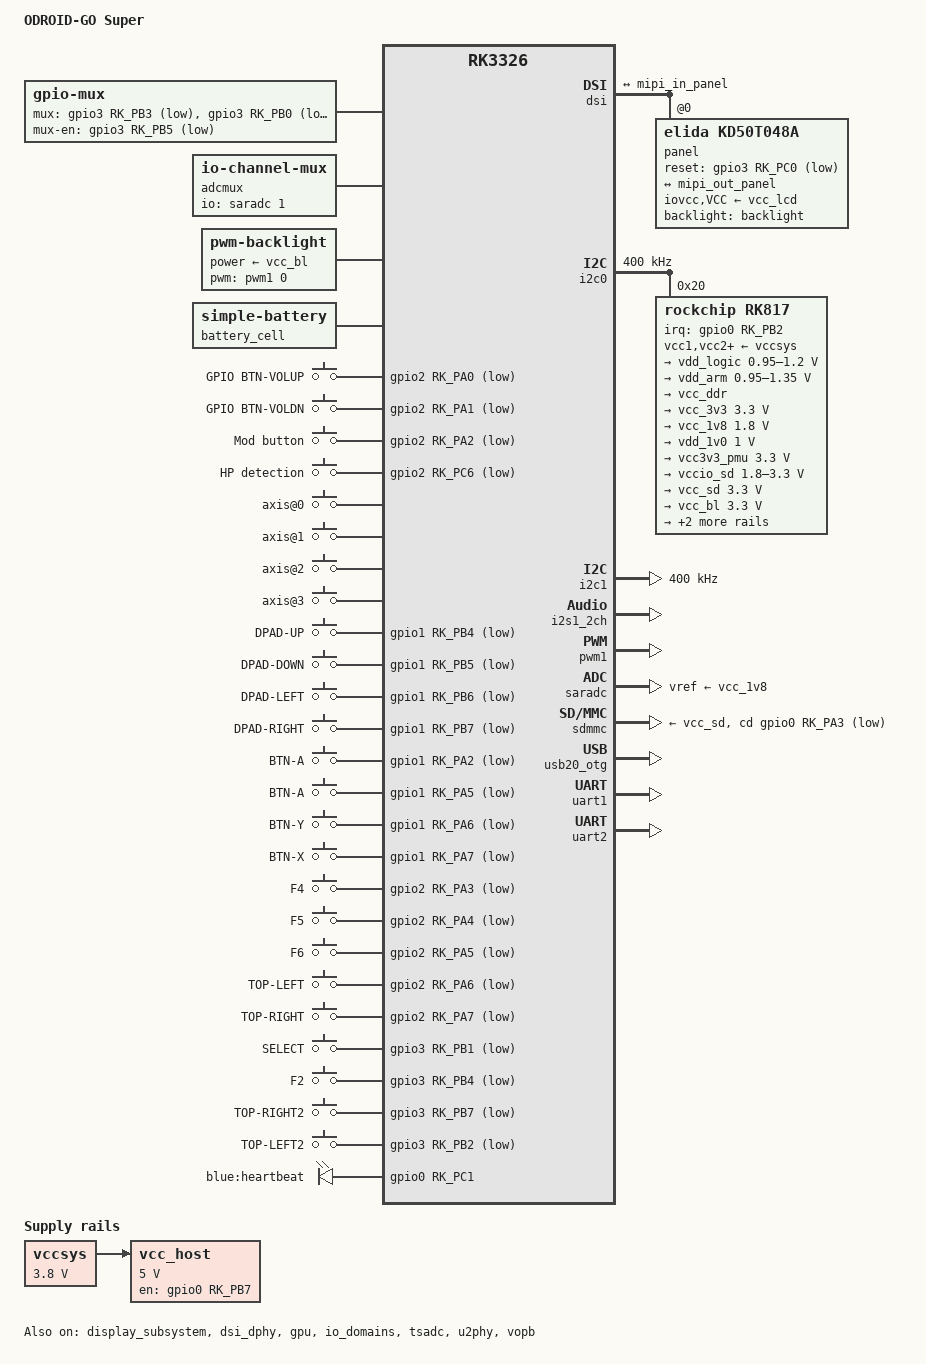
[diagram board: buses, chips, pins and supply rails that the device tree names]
// SPDX-License-Identifier: (GPL-2.0+ OR MIT)
/*
 * Copyright (c) 2019 Hardkernel Co., Ltd
 * Copyright (c) 2020 Theobroma Systems Design und Consulting GmbH
 */

/dts-v1/;
#include <dt-bindings/gpio/gpio.h>
#include <dt-bindings/input/input.h>
#include <dt-bindings/pinctrl/rockchip.h>
#include "rockchip/rk3326.dtsi"

/ {
	model = "ODROID-GO Super";
	compatible = "hardkernel,rk3326-odroid-go3", "rockchip,rk3326";

	chosen {
		stdout-path = "serial2:115200n8";
	};

	mux: mux-controller {
		status = "okay";
		compatible = "gpio-mux";
		#mux-control-cells = <0>;

		mux-gpios = <&gpio3 RK_PB3 GPIO_ACTIVE_LOW>,
			    <&gpio3 RK_PB0 GPIO_ACTIVE_LOW>;
		mux-en-gpio = <&gpio3 RK_PB5 GPIO_ACTIVE_LOW>;
	};

	adcmux: adc-mux {
		status = "okay";
		compatible = "io-channel-mux";
		io-channels = <&saradc 1>;
		io-channel-names = "parent";
		#io-channel-cells = <1>;

		mux-controls = <&mux>;

		channels = "0", "1", "2", "3";
	};

	backlight: backlight {
		compatible = "pwm-backlight";
		power-supply = <&vcc_bl>;
		pwms = <&pwm1 0 25000 0>;
	};

	battery_cell: battery-cell {
		compatible = "simple-battery";
		energy-full-design-microamp-hours = <4000000>;
		voltage-min-design-microvolt = <3500000>;
		voltage-max-design-microvolt = <4100000>;

		ocv-capacity-celcius = <20>;
		ocv-capacity-table-0 =  <3500 0>, <3625 5>, <3685 10>, <3697 15>,
					<3718 20>, <3735 25>, <3748 30>, <3760 35>,
					<3774 40>, <3788 45>, <3802 50>, <3816 55>,
					<3834 60>, <3853 65>, <3877 70>, <3908 75>,
					<3946 80>, <3975 85>, <4018 90>, <4071 95>,
					<4106 100>;
	};

	utils {
			compatible = "gpio-keys";
			#address-cells = <1>;
			#size-cells = <0>;
			button@0 {
				label = "GPIO BTN-VOLUP";
				linux,code = <KEY_VOLUMEUP>;
				gpios = <&gpio2 RK_PA0 GPIO_ACTIVE_LOW>;
			};
			button@1 {
				label = "GPIO BTN-VOLDN";
				linux,code = <KEY_VOLUMEDOWN>;
				gpios = <&gpio2 RK_PA1 GPIO_ACTIVE_LOW>;
			};
			button@2 {
				label = "Mod button";
				gpios = <&gpio2 RK_PA2 GPIO_ACTIVE_LOW>;
				linux,code = <KEY_LEFTMETA>; // 0x2c2
			};
			button@3 {
				label = "HP detection";
				gpios = <&gpio2 RK_PC6 GPIO_ACTIVE_LOW>;
				linux,code = <KEY_SOUND>;
			};
	};

	joypad {
		compatible = "gpio-keys-adc";
		joypad-name = "GO-Super Gamepad";
		joypad-product = <0x1100>;
		joypad-revision = <0x0100>;

		pinctrl-names = "default";
		pinctrl-0 = <&btn_pins>;

		io-channels = <&adcmux 0>, <&adcmux 1>, <&adcmux 2>, <&adcmux 3>;

		axis@0 {
			reg = <0>;
			abs-flat = <32>;
			abs-fuzz = <10>;
			abs-range = <180 800>;
			linux,code = <ABS_X>;
			analog;
		};

		axis@1 {
			reg = <1>;
			abs-flat = <32>;
			abs-fuzz = <10>;
			abs-range = <180 800>;
			linux,code = <ABS_RX>;
			analog;
		};

		axis@2 {
			reg = <2>;
			abs-flat = <32>;
			abs-fuss = <10>;
			abs-range = <180 800>;
			linux,code = <ABS_Y>;
			analog;
		};

		axis@3 {
			reg = <3>;
			abs-flat = <32>;
			abs-fuss = <10>;
			abs-range = <180 800>;
			linux,code = <ABS_RY>;
			analog;
		};


		/*
		 *      *** ODROIDGO3 Switch layout ***
		 * |------------------------------------------------|
		 * | L1 L2	     vol-  vol+	     R2 R1 |
		 * |------------------------------------------------|
		 * |       select			  start    |
		 * |     sw1      |-------------------|      sw8    |
		 * |  sw3   sw4   |		   |   sw7   sw5 |
		 * |     sw2      |    LCD Display    |      sw6    |
		 * |	      |		   |	     |
		 * |	      |-------------------|	     |
		 * |  MOD start	 SD  SLOT	 sw13 sw14  |
		 * |------------------------------------------------|
		 */

		sw1 {
			reg = <4>;
			gpios = <&gpio1 RK_PB4 GPIO_ACTIVE_LOW>;
			label = "DPAD-UP";
			linux,code = <BTN_DPAD_UP>; // 0x220
		};
		sw2 {
			reg = <5>;
			gpios = <&gpio1 RK_PB5 GPIO_ACTIVE_LOW>;
			label = "DPAD-DOWN";
			linux,code = <BTN_DPAD_DOWN>; // 0x221
		};
		sw3 {
			reg = <6>;
			gpios = <&gpio1 RK_PB6 GPIO_ACTIVE_LOW>;
			label = "DPAD-LEFT";
			linux,code = <BTN_DPAD_LEFT>; // 0x222
		};
		sw4 {
			reg = <7>;
			gpios = <&gpio1 RK_PB7 GPIO_ACTIVE_LOW>;
			label = "DPAD-RIGHT";
			linux,code = <BTN_DPAD_RIGHT>; // 0x223
		};
		sw5 {
			reg = <8>;
			gpios = <&gpio1 RK_PA2 GPIO_ACTIVE_LOW>;
			label = "BTN-A";
			linux,code = <BTN_EAST>; // 0x131
		};
		sw6 {
			reg = <9>;
			gpios = <&gpio1 RK_PA5 GPIO_ACTIVE_LOW>;
			label = "BTN-A";
			linux,code = <BTN_SOUTH>; // 0x130
		};
		sw7 {
			reg = <10>;
			gpios = <&gpio1 RK_PA6 GPIO_ACTIVE_LOW>;
			label = "BTN-Y";
			linux,code = <BTN_WEST>; // 0x134
		};
		sw8 {
			reg = <11>;
			gpios = <&gpio1 RK_PA7 GPIO_ACTIVE_LOW>;
			label = "BTN-X";
			linux,code = <BTN_NORTH>; // 0x133
		};
		sw9 {
			reg = <12>;
			gpios = <&gpio2 RK_PA3 GPIO_ACTIVE_LOW>;
			label = "F4";
			linux,code = <BTN_THUMBL>; // 0x2c3
		};
		sw10 {
			reg = <13>;
			gpios = <&gpio2 RK_PA4 GPIO_ACTIVE_LOW>;
			label = "F5";
			linux,code = <BTN_THUMBR>; // 0x2c4
		};
		sw11 { // UNUSED
			reg = <14>;
			gpios = <&gpio2 RK_PA5 GPIO_ACTIVE_LOW>;
			label = "F6";
			linux,code = <BTN_TRIGGER_HAPPY6>; // 0x13c
		};
		sw12 {
			reg = <15>;
			gpios = <&gpio2 RK_PA6 GPIO_ACTIVE_LOW>;
			label = "TOP-LEFT";
			linux,code = <BTN_TL>; // 0x02
		};
		sw13 {
			reg = <16>;
			gpios = <&gpio2 RK_PA7 GPIO_ACTIVE_LOW>;
			label = "TOP-RIGHT";
			linux,code = <BTN_TR>; // 0x05
		};
		sw14 {
			reg = <17>;
			gpios = <&gpio3 RK_PB1 GPIO_ACTIVE_LOW>;
			label = "SELECT";
			linux,code = <BTN_SELECT>;
		};
		sw15 {
			reg = <18>;
			gpios = <&gpio3 RK_PB4 GPIO_ACTIVE_LOW>;
			label = "F2";
			linux,code = <BTN_START>;
		};
		sw16 {
			reg = <19>;
			gpios = <&gpio3 RK_PB7 GPIO_ACTIVE_LOW>;
			label = "TOP-RIGHT2";
			linux,code = <BTN_TR2>;
		};
		sw17 {
			reg = <20>;
			gpios = <&gpio3 RK_PB2 GPIO_ACTIVE_LOW>;
			label = "TOP-LEFT2";
			linux,code = <BTN_TL2>;
		};
	};

	leds: gpio-leds {
		compatible = "gpio-leds";
		pinctrl-names = "default";
		pinctrl-0 = <&blue_led_pin>;

		blue_led: led-0 {
			label = "blue:heartbeat";
			gpios = <&gpio0 RK_PC1 GPIO_ACTIVE_HIGH>;
			linux,default-trigger = "heartbeat";
		};
	};

	vccsys: vccsys {
		compatible = "regulator-fixed";
		regulator-name = "vcc3v8_sys";
		regulator-always-on;
		regulator-min-microvolt = <3800000>;
		regulator-max-microvolt = <3800000>;
	};

	rk817-sound {
		status = "okay";
		compatible = "simple-audio-card";
		simple-audio-card,format = "i2s";
		simple-audio-card,name = "rockchip,rk817-codec";
		simple-audio-card,mclk-fs = <256>;
		simple-audio-card,widgets =
			"Microphone", "Mic Jack",
			"Headphone", "Headphones",
			"Speaker", "Speaker";
		simple-audio-card,routing =
			"MICL", "Mic Jack",
			"Headphones", "HPOL",
			"Headphones", "HPOR",
			"Speaker", "SPKO";
		//simple-audio-card,hp-det-gpio = <&gpio2 RK_PC6 GPIO_ACTIVE_HIGH>;
		simple-audio-card,pin-switches = "Speaker", "Headphones";
		simple-audio-card,cpu {
			sound-dai = <&i2s1_2ch>;
		};
		simple-audio-card,codec {
			sound-dai = <&rk817>;
		};
	};

	vcc_host: vcc_host {
		compatible = "regulator-fixed";
		regulator-name = "vcc_host";
		regulator-min-microvolt = <5000000>;
		regulator-max-microvolt = <5000000>;

		gpio = <&gpio0 RK_PB7 GPIO_ACTIVE_HIGH>;
		enable-active-high;
		regulator-always-on;
		vin-supply = <&vccsys>;
	};
};

/* TODO 5.15
&dmc {
	center-supply = <&vdd_logic>;
};
*/

&cpu0 {
	cpu-supply = <&vdd_arm>;
};

&cpu1 {
	cpu-supply = <&vdd_arm>;
};

&cpu2 {
	cpu-supply = <&vdd_arm>;
};

&cpu3 {
	cpu-supply = <&vdd_arm>;
};

&cru {
	assigned-clocks = <&cru PLL_NPLL>,
		<&cru ACLK_BUS_PRE>, <&cru ACLK_PERI_PRE>,
		<&cru HCLK_BUS_PRE>, <&cru HCLK_PERI_PRE>,
		<&cru PCLK_BUS_PRE>, <&cru SCLK_GPU>,
		<&cru PLL_CPLL>;

	assigned-clock-rates = <1188000000>,
		<200000000>, <200000000>,
		<150000000>, <150000000>,
		<100000000>, <200000000>,
		<17000000>;
};

&display_subsystem {
	status = "okay";
};

&dsi {
	status = "okay";

	ports {
		mipi_out: port@1 {
			reg = <1>;

			mipi_out_panel: endpoint {
				remote-endpoint = <&mipi_in_panel>;
			};
		};
	};

	panel@0 {
		compatible = "elida,kd50t048a", "simple-panel-dsi";
		reg = <0>;
		backlight = <&backlight>;
		iovcc-supply = <&vcc_lcd>;
		reset-gpios = <&gpio3 RK_PC0 GPIO_ACTIVE_LOW>;
		VCC-supply = <&vcc_lcd>;
		rotation = <270>;
		port {
			mipi_in_panel: endpoint {
				remote-endpoint = <&mipi_out_panel>;
			};
		};
	};
};



&dsi_dphy {
	status = "okay";
};

&gpu {
	mali-supply = <&vdd_logic>;
	status = "okay";
};

&i2c0 {
	clock-frequency = <400000>;
	i2c-scl-falling-time-ns = <16>;
	i2c-scl-rising-time-ns = <280>;
	status = "okay";

	rk817: pmic@20 {
		compatible = "rockchip,rk817";
		reg = <0x20>;
		interrupt-parent = <&gpio0>;
		interrupts = <RK_PB2 IRQ_TYPE_LEVEL_LOW>;
		pinctrl-names = "default";
		pinctrl-0 = <&pmic_int &i2s1_2ch_mclk>;
		rockchip,system-power-controller;
		wakeup-source;
		#clock-cells = <1>;
		clock-output-names = "rk808-clkout1", "xin32k";
		clocks = <&cru SCLK_I2S1_OUT>;
		clock-names = "mclk";
		#sound-dai-cells = <0>;

		vcc1-supply = <&vccsys>;
		vcc2-supply = <&vccsys>;
		vcc3-supply = <&vccsys>;
		vcc4-supply = <&vccsys>;
		vcc5-supply = <&vccsys>;
		vcc6-supply = <&vccsys>;
		vcc7-supply = <&vccsys>;

		rk817_battery: battery {
			compatible = "rk817,battery";
			monitored-battery = <&battery_cell>;
			bat_res = <180>;
			sample_res = <10>;
		};

		rk817_codec: codec {
			mic-in-differential;
			status = "okay";
		};

		regulators {
			vdd_logic: DCDC_REG1 {
				regulator-name = "vdd_logic";
				regulator-min-microvolt = <950000>;
				regulator-max-microvolt = <1200000>;
				regulator-ramp-delay = <6001>;
				regulator-always-on;
				regulator-boot-on;

				regulator-state-mem {
					regulator-on-in-suspend;
					regulator-suspend-microvolt = <950000>;
				};
			};

			vdd_arm: DCDC_REG2 {
				regulator-name = "vdd_arm";
				regulator-min-microvolt = <950000>;
				regulator-max-microvolt = <1350000>;
				regulator-ramp-delay = <6001>;
				regulator-always-on;
				regulator-boot-on;

				regulator-state-mem {
					regulator-off-in-suspend;
					regulator-suspend-microvolt = <950000>;
				};
			};

			vcc_ddr: DCDC_REG3 {
				regulator-name = "vcc_ddr";
				regulator-always-on;
				regulator-boot-on;

				regulator-state-mem {
					regulator-on-in-suspend;
				};
			};

			vcc_3v3: DCDC_REG4 {
				regulator-name = "vcc_3v3";
				regulator-min-microvolt = <3300000>;
				regulator-max-microvolt = <3300000>;
				regulator-always-on;
				regulator-boot-on;

				regulator-state-mem {
					regulator-off-in-suspend;
					regulator-suspend-microvolt = <3300000>;
				};
			};

			vcc_1v8: LDO_REG2 {
				regulator-name = "vcc_1v8";
				regulator-min-microvolt = <1800000>;
				regulator-max-microvolt = <1800000>;
				regulator-always-on;
				regulator-boot-on;

				regulator-state-mem {
					regulator-on-in-suspend;
					regulator-suspend-microvolt = <1800000>;
				};
			};

			vdd_1v0: LDO_REG3 {
				regulator-name = "vdd_1v0";
				regulator-min-microvolt = <1000000>;
				regulator-max-microvolt = <1000000>;
				regulator-always-on;
				regulator-boot-on;

				regulator-state-mem {
					regulator-on-in-suspend;
					regulator-suspend-microvolt = <1000000>;
				};
			};

			vcc3v3_pmu: LDO_REG4 {
				regulator-name = "vcc3v3_pmu";
				regulator-min-microvolt = <3300000>;
				regulator-max-microvolt = <3300000>;
				regulator-always-on;
				regulator-boot-on;

				regulator-state-mem {
					regulator-on-in-suspend;
					regulator-suspend-microvolt = <3300000>;
				};
			};

			vccio_sd: LDO_REG5 {
				regulator-name = "vccio_sd";
				regulator-min-microvolt = <1800000>;
				regulator-max-microvolt = <3300000>;
				regulator-always-on;
				regulator-boot-on;

				regulator-state-mem {
					regulator-on-in-suspend;
					regulator-suspend-microvolt = <3300000>;
				};
			};

			vcc_sd: LDO_REG6 {
				regulator-name = "vcc_sd";
				regulator-min-microvolt = <3300000>;
				regulator-max-microvolt = <3300000>;
				regulator-boot-on;

				regulator-state-mem {
					regulator-on-in-suspend;
					regulator-suspend-microvolt = <3300000>;
				};
			};

			vcc_bl: LDO_REG7 {
				regulator-name = "vcc_bl";
				regulator-min-microvolt = <3300000>;
				regulator-max-microvolt = <3300000>;

				regulator-state-mem {
					regulator-off-in-suspend;
					regulator-suspend-microvolt = <3300000>;
				};
			};

			/* Rev 0.1 GO3 LCD IO Power */
			vcc_lcd: LDO_REG8 {
				regulator-name = "vcc_lcd";
				regulator-min-microvolt = <2800000>;
				regulator-max-microvolt = <2800000>;

				regulator-state-mem {
					regulator-off-in-suspend;
					regulator-suspend-microvolt = <2800000>;
				};
			};

			/* Rev 1.1 WIFI Power */
			vcc_wifi: LDO_REG9 {
				regulator-min-microvolt = <3300000>;
				regulator-max-microvolt = <3300000>;
				regulator-state-mem {
					regulator-off-in-suspend;
					regulator-suspend-microvolt = <3300000>;
				};
			};
		};
	};
};

/* EXT Header(P2): 7(SCL:GPIO0.C2), 8(SDA:GPIO0.C3) */
&i2c1 {
	clock-frequency = <400000>;
	status = "okay";
};

/* I2S 1 Channel Used */
&i2s1_2ch {
	resets = <&cru SRST_I2S1>, <&cru SRST_I2S1_H>;
	reset-names = "reset-m", "reset-h";
	status = "okay";
};

&io_domains {
	vccio1-supply = <&vcc_3v3>;
	vccio2-supply = <&vccio_sd>;
	vccio3-supply = <&vcc_3v3>;
	vccio4-supply = <&vcc_3v3>;
	vccio5-supply = <&vcc_3v3>;
	vccio6-supply = <&vcc_3v3>;
	status = "okay";
};

&pmu_io_domains {
	pmuio1-supply = <&vcc3v3_pmu>;
	pmuio2-supply = <&vcc3v3_pmu>;
	status = "okay";
};

&pwm1 {
	status = "okay";
};

&saradc {
	vref-supply = <&vcc_1v8>;
	status = "okay";
};

&sdmmc {
	cap-sd-highspeed;
	card-detect-delay = <800>;
	cd-gpios = <&gpio0 RK_PA3 GPIO_ACTIVE_LOW>; /*[> CD GPIO <]*/
	sd-uhs-sdr12;
	sd-uhs-sdr25;
	sd-uhs-sdr50;
	sd-uhs-sdr104;
	vmmc-supply = <&vcc_sd>;
	vqmmc-supply = <&vccio_sd>;
	status = "okay";
};

&tsadc {
	status = "okay";
};

&u2phy {
	status = "okay";

	u2phy_host: host-port {
		status = "okay";
	};

	u2phy_otg: otg-port {
		status = "disabled";
	};
};

&usb20_otg {
	status = "okay";
};

/* EXT Header(P2): 2(RXD:GPIO1.C0),3(TXD:.C1),4(CTS:.C2),5(RTS:.C3) */
&uart1 {
	pinctrl-names = "default";
	pinctrl-0 = <&uart1_xfer &uart1_cts>;
	status = "okay";
};

&uart2 {
	pinctrl-names = "default";
	pinctrl-0 = <&uart2m1_xfer>;
	status = "okay";
};

&vopb {
	status = "okay";
};

&vopb_mmu {
	status = "okay";
};

&pinctrl {
	btns {
		btn_pins: btn-pins {
			rockchip,pins = <1 RK_PB4 RK_FUNC_GPIO &pcfg_pull_up>,
					<1 RK_PB5 RK_FUNC_GPIO &pcfg_pull_up>,
					<1 RK_PB6 RK_FUNC_GPIO &pcfg_pull_up>,
					<1 RK_PB7 RK_FUNC_GPIO &pcfg_pull_up>,

					<1 RK_PA2 RK_FUNC_GPIO &pcfg_pull_up>,
					<1 RK_PA5 RK_FUNC_GPIO &pcfg_pull_up>,
					<1 RK_PA6 RK_FUNC_GPIO &pcfg_pull_up>,
					<1 RK_PA7 RK_FUNC_GPIO &pcfg_pull_up>,

					<2 RK_PA0 RK_FUNC_GPIO &pcfg_pull_up>,
					<2 RK_PA1 RK_FUNC_GPIO &pcfg_pull_up>,
					<2 RK_PA2 RK_FUNC_GPIO &pcfg_pull_up>,
					<2 RK_PA3 RK_FUNC_GPIO &pcfg_pull_up>,
					<2 RK_PA4 RK_FUNC_GPIO &pcfg_pull_up>,
					<2 RK_PA5 RK_FUNC_GPIO &pcfg_pull_up>,
					<2 RK_PA6 RK_FUNC_GPIO &pcfg_pull_up>,
					<2 RK_PA7 RK_FUNC_GPIO &pcfg_pull_up>,

					<3 RK_PB1 RK_FUNC_GPIO &pcfg_pull_up>,
					<3 RK_PB2 RK_FUNC_GPIO &pcfg_pull_up>,
					<3 RK_PB4 RK_FUNC_GPIO &pcfg_pull_up>,
					<3 RK_PB7 RK_FUNC_GPIO &pcfg_pull_up>;
		};
	};

	headphone {
		hp_det: hp-det {
			rockchip,pins = <2 RK_PC6 RK_FUNC_GPIO &pcfg_pull_down>;
		};
	};

	leds {
		blue_led_pin: blue-led-pin {
			rockchip,pins = <0 RK_PC1 RK_FUNC_GPIO &pcfg_pull_none>;
		};
	};

	pmic {
		dc_det: dc-det {
			rockchip,pins = <0 RK_PB3 RK_FUNC_GPIO &pcfg_pull_none>;
		};

		pmic_int: pmic-int {
			rockchip,pins = <0 RK_PB2 RK_FUNC_GPIO &pcfg_pull_up>;
		};

		soc_slppin_gpio: soc_slppin_gpio {
			rockchip,pins = <0 RK_PA4 RK_FUNC_GPIO &pcfg_output_low>;
		};

		soc_slppin_rst: soc_slppin_rst {
			rockchip,pins = <0 RK_PA4 2 &pcfg_pull_none>;
		};

		soc_slppin_slp: soc_slppin_slp {
			rockchip,pins = <0 RK_PA4 1 &pcfg_pull_none>;
		};
	};
};
